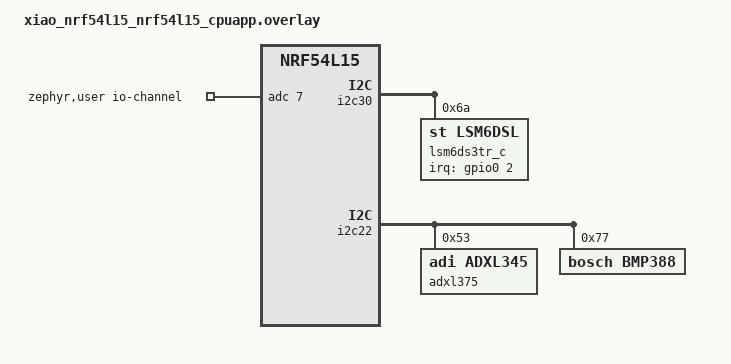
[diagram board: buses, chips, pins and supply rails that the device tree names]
/*
 * XIAO nRF54L15 Sense
 * IMU: LSM6DS3TR-C (Zephyr lsm6dsl driver) at I2C30 addr 0x6a
 * Data-ready IRQ: P0.02
 *
 * Upstream board DTS uses st,lsm6dso, but the populated part is LSM6DS3TR-C
 * (WHO_AM_I 0x6A). The lsm6dso driver rejects that ID and never becomes ready.
 *
 * External Qwiic aux sensors on D4/D5 (i2c22, P1.10/P1.11):
 *   accel0: ADXL375 high-g accel at 0x53 (register-compatible with ADXL345)
 *   bmp388: BMP388 barometer at 0x77
 * imu.c prefers accel0 for acceleration; falls back to imu0 (LSM6) if absent.
 * Gyro always comes from imu0 (ADXL375 has no gyro).
 *
 * Battery ADC: vbat_pwr regulator (P1.15) gates a voltage divider whose
 * output is on P1.14 (SAADC AIN7, channel@7 in xiao_nrf54l15_common.dtsi).
 * channel@7 is already defined upstream; we just route it to zephyr,user.
 */

/ {
	aliases {
		imu0 = &lsm6ds3tr_c;
		accel0 = &adxl375;
	};

	zephyr,user {
		io-channels = <&adc 7>;
	};
};

&i2c30 {
	/delete-node/ lsm6dso@6a;

	lsm6ds3tr_c: lsm6ds3tr-c@6a {
		compatible = "st,lsm6dsl";
		reg = <0x6a>;
		irq-gpios = <&gpio0 2 GPIO_ACTIVE_HIGH>;
		status = "okay";
	};
};

&i2c22 {
  status = "okay";

	/* ADXL375 high-g accelerometer (same register map as ADXL345, same DEVID 0xE5) */
	adxl375: adxl375@53 {
		compatible = "adi,adxl345";
		reg = <0x53>;
		status = "okay";
	};

	/* BMP388 barometric pressure sensor (SDO=VCC -> 0x77) */
	bmp388: bmp388@77 {
		compatible = "bosch,bmp388";
		reg = <0x77>;
		status = "okay";
	};
};
